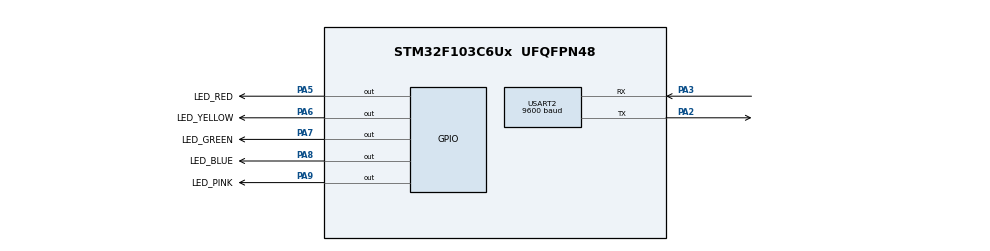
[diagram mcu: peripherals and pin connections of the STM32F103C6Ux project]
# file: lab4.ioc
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Mcu.Family=STM32F1
Mcu.Name=STM32F103C6Ux
Mcu.Package=UFQFPN48
NVIC.PriorityGroup=NVIC_PRIORITYGROUP_4
NVIC.TIM2_IRQn=true\:0\:0\:false\:false\:true\:true\:true
NVIC.USART2_IRQn=true\:0\:0\:false\:false\:true\:true\:true
PA2.Mode=Asynchronous
PA2.Signal=USART2_TX
PA3.Mode=Asynchronous
PA3.Signal=USART2_RX
PA5.GPIO_Label=LED_RED
PA5.Signal=GPIO_Output
PA6.GPIO_Label=LED_YELLOW
PA6.Signal=GPIO_Output
PA7.GPIO_Label=LED_GREEN
PA7.Signal=GPIO_Output
PA8.GPIO_Label=LED_BLUE
PA8.Signal=GPIO_Output
PA9.GPIO_Label=LED_PINK
PA9.Signal=GPIO_Output
ProjectManager.HeapSize=0x200
ProjectManager.StackSize=0x400
ProjectManager.TargetToolchain=STM32CubeIDE
RCC.APB1Freq_Value=8000000
RCC.APB2Freq_Value=8000000
TIM2.Period=9
TIM2.Prescaler=7999
USART2.BaudRate=9600
USART2.VirtualMode=VM_ASYNC
VP_SYS_VS_ND.Mode=No_Debug
VP_TIM2_VS_ClockSourceINT.Mode=Internal
board=custom

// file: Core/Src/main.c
/* USER CODE BEGIN Header */
/**
  ******************************************************************************
  * @file           : main.c
  * @brief          : Main program body
  ******************************************************************************
  * @attention
  *
  * <h2><center>&copy; Copyright (c) 2022 STMicroelectronics.
  * All rights reserved.</center></h2>
  *
  * This software component is licensed by ST under BSD 3-Clause license,
  * the "License"; You may not use this file except in compliance with the
  * License. You may obtain a copy of the License at:
  *                        opensource.org/licenses/BSD-3-Clause
  *
  ******************************************************************************
  */
/* USER CODE END Header */
#include "main.h"

/* USER CODE BEGIN Includes */
#include "scheduler.h"
#include <stdio.h>
#include "task.h"
#include "global.h"
/* USER CODE END Includes */

TIM_HandleTypeDef htim2;

UART_HandleTypeDef huart2;

void SystemClock_Config(void);
static void MX_TIM2_Init(void);
static void MX_GPIO_Init(void);
static void MX_USART2_UART_Init(void);

/* USER CODE BEGIN 0 */
int counter_timestamps = 0;
char str[50];
void Print_Timestamps(){
	  HAL_UART_Transmit(&huart2, str, sprintf(str, "%s : %d \r\n","Timestamp", counter_timestamps), 1000);
}

void Toggle_LedRed(){
	HAL_GPIO_TogglePin(LED_RED_GPIO_Port, LED_RED_Pin);
	HAL_UART_Transmit(&huart2, str, sprintf(str, "%s : %d ms\r\n","LedRed", counter_timestamps), 1000);
}

void Toggle_LedGreen(){
	HAL_GPIO_TogglePin(LED_GREEN_GPIO_Port, LED_GREEN_Pin);
	HAL_UART_Transmit(&huart2, str, sprintf(str, "%s : %d ms\r\n","LedGreen", counter_timestamps), 1000);
}
void Toggle_LedYellow(){
	HAL_GPIO_TogglePin(LED_YELLOW_GPIO_Port, LED_YELLOW_Pin);
	HAL_UART_Transmit(&huart2, str, sprintf(str, "%s : %d ms\r\n","LedYellow", counter_timestamps), 1000);
}
void Toggle_LedBlue(){
	HAL_GPIO_TogglePin(LED_BLUE_GPIO_Port, LED_BLUE_Pin);
	HAL_UART_Transmit(&huart2, str, sprintf(str, "%s : %d ms\r\n","LedBlue", counter_timestamps), 1000);
}
void Toggle_LedPink(){
	HAL_GPIO_TogglePin(LED_PINK_GPIO_Port, LED_PINK_Pin);
	HAL_UART_Transmit(&huart2, str, sprintf(str, "%s : %d ms\r\n","LedPink", counter_timestamps), 1000);
}

/* USER CODE END 0 */

int main(void)
{

  /* MCU Configuration--------------------------------------------------------*/

  /* Reset of all peripherals, Initializes the Flash interface and the Systick. */
  HAL_Init();

  /* Configure the system clock */
  SystemClock_Config();

  /* Initialize all configured peripherals */
  MX_TIM2_Init();
  MX_GPIO_Init();
  MX_USART2_UART_Init();
  /* USER CODE BEGIN 2 */
  HAL_TIM_Base_Start_IT (& htim2 );
  /* USER CODE END 2 */

  /* Infinite loop */
  /* USER CODE BEGIN WHILE */
  SCH_Init();
  SCH_Add_Task(Toggle_LedRed, 1000 , 500);
  SCH_Add_Task(Toggle_LedGreen, 3000 , 1000);
  SCH_Add_Task(Toggle_LedYellow, 5000 , 1500);
  SCH_Add_Task(Toggle_LedBlue, 7000, 2000);
  SCH_Add_Task(Toggle_LedPink, 11000, 0); // one shot task
  //SCH_Add_Task(Print_Timestamps, 0, 30);
  while (1)
  {
	SCH_Dispatch_Tasks();

    /* USER CODE END WHILE */

  }
}

void SystemClock_Config(void)
{
  RCC_OscInitTypeDef RCC_OscInitStruct = {0};
  RCC_ClkInitTypeDef RCC_ClkInitStruct = {0};

  /** Initializes the RCC Oscillators according to the specified parameters
  * in the RCC_OscInitTypeDef structure.
  */
  RCC_OscInitStruct.OscillatorType = RCC_OSCILLATORTYPE_HSI;
  RCC_OscInitStruct.HSIState = RCC_HSI_ON;
  RCC_OscInitStruct.HSICalibrationValue = RCC_HSICALIBRATION_DEFAULT;
  RCC_OscInitStruct.PLL.PLLState = RCC_PLL_NONE;
  if (HAL_RCC_OscConfig(&RCC_OscInitStruct) != HAL_OK)
  {
    Error_Handler();
  }
  /** Initializes the CPU, AHB and APB buses clocks
  */
  RCC_ClkInitStruct.ClockType = RCC_CLOCKTYPE_HCLK|RCC_CLOCKTYPE_SYSCLK
                              |RCC_CLOCKTYPE_PCLK1|RCC_CLOCKTYPE_PCLK2;
  RCC_ClkInitStruct.SYSCLKSource = RCC_SYSCLKSOURCE_HSI;
  RCC_ClkInitStruct.AHBCLKDivider = RCC_SYSCLK_DIV1;
  RCC_ClkInitStruct.APB1CLKDivider = RCC_HCLK_DIV1;
  RCC_ClkInitStruct.APB2CLKDivider = RCC_HCLK_DIV1;

  if (HAL_RCC_ClockConfig(&RCC_ClkInitStruct, FLASH_LATENCY_0) != HAL_OK)
  {
    Error_Handler();
  }
}

static void MX_TIM2_Init(void)
{

  TIM_ClockConfigTypeDef sClockSourceConfig = {0};
  TIM_MasterConfigTypeDef sMasterConfig = {0};

  htim2.Instance = TIM2;
  htim2.Init.Prescaler = 7999;
  htim2.Init.CounterMode = TIM_COUNTERMODE_UP;
  htim2.Init.Period = 9;
  htim2.Init.ClockDivision = TIM_CLOCKDIVISION_DIV1;
  htim2.Init.AutoReloadPreload = TIM_AUTORELOAD_PRELOAD_DISABLE;
  if (HAL_TIM_Base_Init(&htim2) != HAL_OK)
  {
    Error_Handler();
  }
  sClockSourceConfig.ClockSource = TIM_CLOCKSOURCE_INTERNAL;
  if (HAL_TIM_ConfigClockSource(&htim2, &sClockSourceConfig) != HAL_OK)
  {
    Error_Handler();
  }
  sMasterConfig.MasterOutputTrigger = TIM_TRGO_RESET;
  sMasterConfig.MasterSlaveMode = TIM_MASTERSLAVEMODE_DISABLE;
  if (HAL_TIMEx_MasterConfigSynchronization(&htim2, &sMasterConfig) != HAL_OK)
  {
    Error_Handler();
  }

}

static void MX_USART2_UART_Init(void)
{

  huart2.Instance = USART2;
  huart2.Init.BaudRate = 9600;
  huart2.Init.WordLength = UART_WORDLENGTH_8B;
  huart2.Init.StopBits = UART_STOPBITS_1;
  huart2.Init.Parity = UART_PARITY_NONE;
  huart2.Init.Mode = UART_MODE_TX_RX;
  huart2.Init.HwFlowCtl = UART_HWCONTROL_NONE;
  huart2.Init.OverSampling = UART_OVERSAMPLING_16;
  if (HAL_UART_Init(&huart2) != HAL_OK)
  {
    Error_Handler();
  }

}

static void MX_GPIO_Init(void)
{
  GPIO_InitTypeDef GPIO_InitStruct = {0};

  /* GPIO Ports Clock Enable */
  __HAL_RCC_GPIOA_CLK_ENABLE();

  /*Configure GPIO pin Output Level */
  HAL_GPIO_WritePin(GPIOA, LED_RED_Pin|LED_YELLOW_Pin|LED_GREEN_Pin|LED_BLUE_Pin
                          |LED_PINK_Pin, GPIO_PIN_RESET);

  /*Configure GPIO pins : LED_RED_Pin LED_YELLOW_Pin LED_GREEN_Pin LED_BLUE_Pin
                           LED_PINK_Pin */
  GPIO_InitStruct.Pin = LED_RED_Pin|LED_YELLOW_Pin|LED_GREEN_Pin|LED_BLUE_Pin
                          |LED_PINK_Pin;
  GPIO_InitStruct.Mode = GPIO_MODE_OUTPUT_PP;
  GPIO_InitStruct.Pull = GPIO_NOPULL;
  GPIO_InitStruct.Speed = GPIO_SPEED_FREQ_LOW;
  HAL_GPIO_Init(GPIOA, &GPIO_InitStruct);

}

/* USER CODE BEGIN 4 */
void HAL_TIM_PeriodElapsedCallback(TIM_HandleTypeDef *htim) {
	SCH_Update();
	counter_timestamps+=10;
}
/* USER CODE END 4 */

void Error_Handler(void)
{
  __disable_irq();
  while (1)
  {
  }
}

/************************ (C) COPYRIGHT STMicroelectronics *****END OF FILE****/
